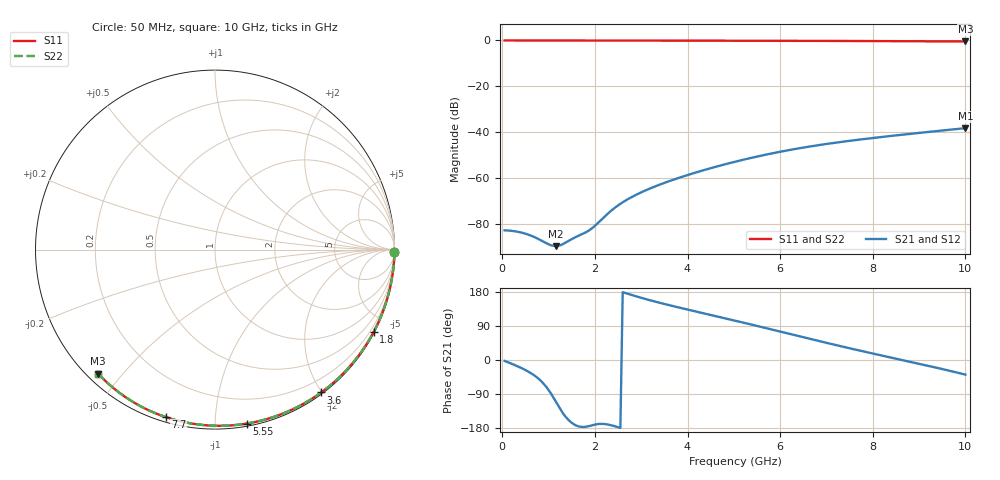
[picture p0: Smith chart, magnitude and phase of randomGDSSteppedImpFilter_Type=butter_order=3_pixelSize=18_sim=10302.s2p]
! freq	dB(S11)	phase(S11)	dB(S12)	phase(S12)
!  dB(S21)	phase(S21)	dB(S22)	phase(S22)
!S-par simulation data
#  GHz  S  DB  R 50
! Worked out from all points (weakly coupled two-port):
!   200 points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, 50 MHz to 10 GHz, reference 50 ohm
!   highest |S21| = -38.28 dB at 10 GHz (marker M1); lowest = -89.7 dB at 1.15 GHz (marker M2)
!   lowest |S11| = -0.4 dB at 10 GHz (marker M3), VSWR 38.82, Z = 1.53 - j21.6 ohm
!   |S11| at or under -10 dB: nowhere
!   |S22| runs from -0.4 to 0.0 dB; largest |S21 - S12| = 0
!   S11 on the Smith chart (normalised r, x): 50 MHz: open; 1.8 GHz: 0.04, -4.12; 3.6 GHz: 0.02, -1.99; 5.55 GHz: 0.02, -1.20; 7.7 GHz: 0.02, -0.75; 10 GHz: 0.03, -0.43
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0.05  -0.00 -0.8  -82.82 -2.4  -82.82 -2.4  -0.00 -0.8
0.6  -0.01 -9.2  -84.97 -33.4  -84.97 -33.4  -0.01 -9.2
1.15  -0.02 -17.6  -89.73 -108.6  -89.73 -108.6  -0.02 -17.6
1.75  -0.03 -26.6  -84.26 -176.8  -84.26 -176.8  -0.03 -26.6
1.8  -0.03 -27.3  -83.74 -176.3  -83.74 -176.3  -0.03 -27.3
2.05  -0.04 -31.0  -79.92 -169.3  -79.92 -169.3  -0.04 -31.0
2.35  -0.05 -35.4  -74.27 -172.2  -74.27 -172.2  -0.05 -35.4
2.5  -0.05 -37.6  -71.96 -177.3  -71.96 -177.3  -0.05 -37.6
2.65  -0.05 -39.8  -69.97 177.0  -69.97 177.0  -0.05 -39.8
2.8  -0.05 -42.0  -68.25 171.3  -68.25 171.3  -0.05 -42.0
3  -0.06 -44.9  -66.25 164.1  -66.25 164.1  -0.06 -44.9
3.4  -0.07 -50.6  -62.88 150.9  -62.88 150.9  -0.07 -50.6
3.6  -0.07 -53.4  -61.40 144.8  -61.40 144.8  -0.07 -53.4
4.3  -0.09 -63.1  -56.87 124.6  -56.87 124.6  -0.09 -63.1
5.05  -0.11 -73.2  -52.78 103.1  -52.78 103.1  -0.11 -73.2
5.55  -0.13 -79.7  -50.43 88.5  -50.43 88.5  -0.13 -79.7
6.1  -0.15 -86.8  -48.16 72.1  -48.16 72.1  -0.15 -86.8
6.7  -0.18 -94.3  -46.07 54.2  -46.07 54.2  -0.18 -94.3
7.7  -0.24 -106.4  -43.28 25.4  -43.28 25.4  -0.24 -106.4
8.35  -0.29 -114.1  -41.75 7.6  -41.75 7.6  -0.29 -114.1
9.15  -0.36 -123.5  -40.00 -14.1  -40.00 -14.1  -0.36 -123.5
10  -0.45 -133.3  -38.28 -38.6  -38.28 -38.6  -0.45 -133.3
